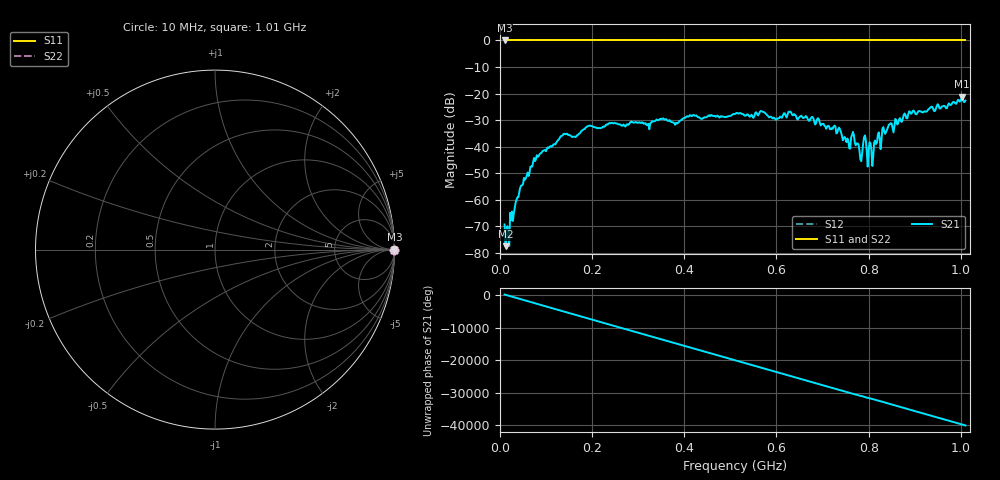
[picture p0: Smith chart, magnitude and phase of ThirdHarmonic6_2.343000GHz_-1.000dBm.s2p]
! 8/17/2025 3:28:43 AM
! C:\ANRITSUVNA\TEMP\TEMP.S2P
! CHANNEL.1
! TR.MEASUREMENT
! RAW.DATA
! RF.CORRECTION.OFF
! AVERAGING.OFF
! IF.BANDWIDTH: 5KHZ
! SWEEPTYPE:  FREQ.SWEEP(Linear)
! Reference Plane Port Info
! PORT:  PORT1  PORT2
! DISTANCE:  0  m  0  m
! TIME:  0  s  0  s
! PHASE.OFFSET:  0  deg.  0  deg.
! LOSS:  0  dB  0  dB
! REF.LOSS:  0  dB  0  dB
! REF.FREQ:  0  Hz  0  Hz
! Power Info
! POWER:  -20  dBm  -20  dBm
! EFF.POWER:  -20  dBm  -20  dBm
! SOURCE.ATTEN:  0  dB  0  dB
! TEST.ATTEN:  0  dB  0  dB
# GHZ S RI R 50.0
! FREQ.GHZ  S11RE  S11IM  S21RE  S21IM  S12RE  S12IM  S22RE  S22IM
!; PortSelection: Port_12
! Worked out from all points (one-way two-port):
!   501 points, 10 MHz to 1.01 GHz, reference 50 ohm
!   highest |S21| = -21.17 dB at 1.002 GHz (marker M1); lowest = -77.5 dB at 12 MHz (marker M2)
!   lowest |S11| = 0.0 dB at 10 MHz (marker M3)
!   |S11| at or under -10 dB: nowhere
!   |S22| runs from 0.0 to 0.0 dB; largest |S21 - S12| = 1.1
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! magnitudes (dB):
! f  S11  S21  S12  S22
! 10 MHz  0.0  -69.3  0.0  0.0
! 12 MHz  0.0  -77.5  0.0  0.0
! 16 MHz  0.0  -70.0  0.0  0.0
! 42 MHz  0.0  -56.9  0.0  0.0
! 76 MHz  0.0  -45.4  0.0  0.0
! 136 MHz  0.0  -35.8  0.0  0.0
! 178 MHz  0.0  -33.9  0.0  0.0
! 344 MHz  0.0  -30.1  0.0  0.0
! 510 MHz  0.0  -27.7  0.0  0.0
! 678 MHz  0.0  -28.8  0.0  0.0
! 738 MHz  0.0  -33.6  0.0  0.0
! 756 MHz  0.0  -38.0  0.0  0.0
! 766 MHz  0.0  -34.5  0.0  0.0
! 782 MHz  0.0  -44.6  0.0  0.0
! 792 MHz  0.0  -35.8  0.0  0.0
! 798 MHz  0.0  -47.5  0.0  0.0
! 810 MHz  0.0  -43.6  0.0  0.0
! 818 MHz  0.0  -38.5  0.0  0.0
! 844 MHz  0.0  -31.7  0.0  0.0
! 892 MHz  0.0  -27.6  0.0  0.0
! 1.002 GHz  0.0  -21.2  0.0  0.0
! 1.01 GHz  0.0  -22.7  0.0  0.0
